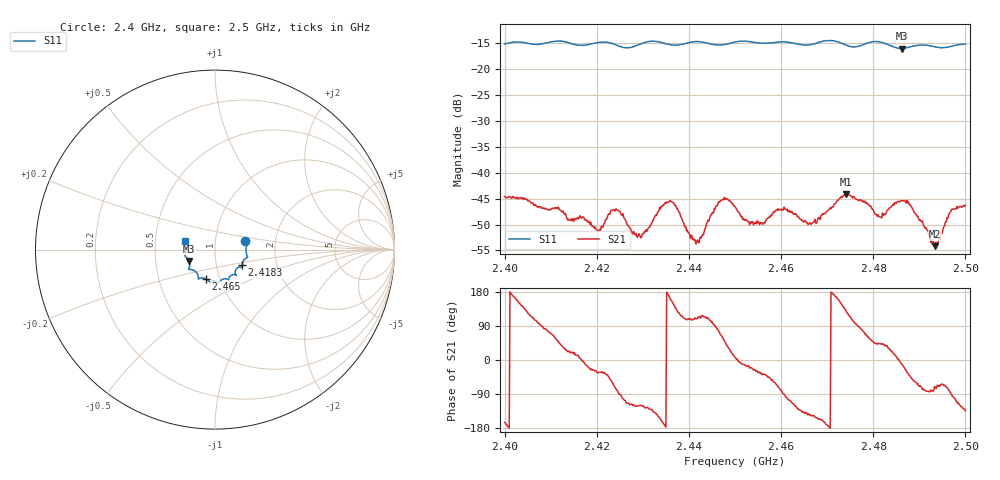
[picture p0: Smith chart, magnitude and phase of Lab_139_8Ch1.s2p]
# Hz S RI R 50
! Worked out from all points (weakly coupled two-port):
!   601 points, 2.4 GHz to 2.5 GHz, reference 50 ohm
!   highest |S21| = -44.18 dB at 2.4742 GHz (marker M1); lowest = -54.2 dB at 2.4933 GHz (marker M2)
!   lowest |S11| = -16.0 dB at 2.4862 GHz (marker M3), VSWR 1.38, Z = 37.1 - j4.81 ohm
!   |S11| at or under -10 dB: start of sweep to end of sweep
!   S12 and S22 are empty: the file has one direction only
!   S11 on the Smith chart (normalised r, x): 2.4 GHz: 1.40, +0.13; 2.4183 GHz: 1.33, -0.24; 2.465 GHz: 0.86, -0.29; 2.5 GHz: 0.71, +0.07
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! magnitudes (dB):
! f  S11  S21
! 2.4 GHz  -15.1  -44.6
! 2.4167 GHz  -15.4  -48.8
! 2.4183 GHz  -15.2  -49.4
! 2.4203 GHz  -14.9  -51.1
! 2.4245 GHz  -15.5  -47.3
! 2.4292 GHz  -15.3  -51.8
! 2.4333 GHz  -14.7  -47.5
! 2.4363 GHz  -15.3  -45.7
! 2.4417 GHz  -14.7  -53.4
! 2.4468 GHz  -15.4  -45.4
! 2.45 GHz  -14.8  -46.6
! 2.4537 GHz  -14.8  -49.5
! 2.4603 GHz  -14.7  -47.2
! 2.465 GHz  -15.4  -49.5
! 2.4667 GHz  -15.2  -49.8
! 2.4742 GHz  -15.4  -44.2
! 2.4813 GHz  -14.8  -48.5
! 2.4833 GHz  -15.3  -47.0
! 2.4862 GHz  -16.0  -45.4
! 2.4933 GHz  -15.7  -54.2
! 2.4968 GHz  -15.6  -47.5
! 2.5 GHz  -15.2  -46.3
